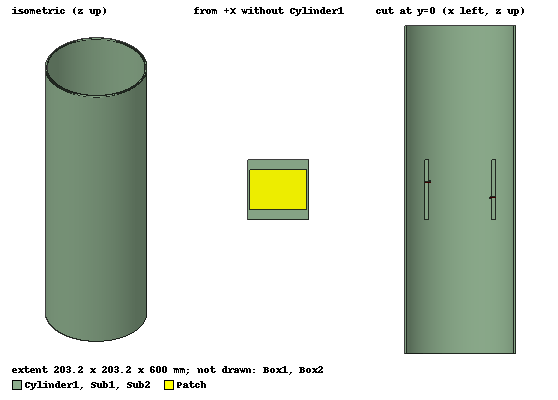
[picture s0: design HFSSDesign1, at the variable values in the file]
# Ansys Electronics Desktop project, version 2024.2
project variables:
  $Antenna_X_Offset = 2.3in
  $Substrate_Width = 0.11246602meter
  $Substrate_Thickness = 0.006meter
  $Substrate_Length = 0.109494912meter
  $X_Offset = 0.022395418meter
  $Patch_Length = 0.07299977meter
  $Patch_Width = 0.10247068meter
  $Tube_Height = 60cm
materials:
  vacuum: permittivity=1
  FR4_epoxy: permittivity=4.4 dielectric_loss_tangent=0.02
  pec: conductivity=1e+30
  Rogers RT/duroid 5880 (tm): permittivity=2.2 dielectric_loss_tangent=0.0009
  Rogers TMM 4 (tm): permittivity=4.5 dielectric_loss_tangent=0.002
  polyethylene: permittivity=2.25 dielectric_loss_tangent=0.001
  air: permittivity=1.0006 permeability=1.0000004
  Rocketry Fiberglass Epoxy: permittivity=3 dielectric_loss_tangent=0.0075

design HFSSDesign1 (HFSS, HFSS Terminal Network, model units mm)
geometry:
  coordinate_system RelativeCS1 = origin=($Antenna_X_Offset, 0mm, 0) x=(0mm, 0mm, -1mm) y=(0mm, 1mm, 0mm)
  Box1 [air] = box(corner=(-25cm, -25cm, 0cm), size=(50cm, 50cm, 50cm)) in RelativeCS1
  Cylinder1 [Rocketry Fiberglass Epoxy] = cylinder(axis=Z, base_centre=(0mm, 0mm, -$Tube_Height/2), radius=4in, height=$Tube_Height)
  Cylinder2 = cylinder(axis=Z, base_centre=(0mm, 0mm, -$Tube_Height/2), radius=(4-0.125) in, height=$Tube_Height)
  Cylinder1.subtract(Cylinder2)
  Cylinder1_1 = Cylinder1.copy()
  Box1.subtract(Cylinder1_1)
  Sub1 [Rogers TMM 4 (tm)] = box(corner=(-($Substrate_Length/2), -($Substrate_Width/2), 0cm), size=($Substrate_Length, $Substrate_Width, $Substrate_Thickness)) in RelativeCS1
  Inf_GND [Rogers RT/duroid 5880 (tm)] = object_from(Sub1.face(at (58.42, 0, 0)))
  Cutout = circle(normal=Z, centre=(-($Patch_Length/2-$X_Offset), 0cm, 0cm), radius=0.16cm) in RelativeCS1
  Inf_GND.subtract(Cutout)
  Patch = rectangle(corner=(-($Patch_Length/2), -($Patch_Width/2), $Substrate_Thickness), x_size=$Patch_Length, y_size=$Patch_Width) in RelativeCS1
  Coax [polyethylene] = cylinder(axis=Z, base_centre=(-($Patch_Length/2-$X_Offset), 0cm, 0cm), radius=0.16cm, height=-0.5cm) in RelativeCS1
  CoaxPin [pec] = cylinder(axis=Z, base_centre=(-($Patch_Length/2-$X_Offset), 0cm, 0cm), radius=0.07cm, height=-0.5cm) in RelativeCS1
  Probe [pec] = cylinder(axis=Z, base_centre=(-($Patch_Length/2-$X_Offset), 0cm, 0cm), radius=0.07cm, height=$Substrate_Thickness) in RelativeCS1
  coordinate_system RelativeCS2 = origin=(-$Antenna_X_Offset, 0, 0) x=(0mm, 0mm, 1mm) y=(0mm, 1mm, 0mm)
  Sub2 [Rogers TMM 4 (tm)] = box(corner=(-($Substrate_Length/2), -($Substrate_Width/2), 0cm), size=($Substrate_Length, $Substrate_Width, $Substrate_Thickness)) in RelativeCS2
  Inf_GND1 [Rogers RT/duroid 5880 (tm)] = object_from(Sub2.face(at (-58.42, 0, 0)))
  Cutout1 = circle(normal=Z, centre=(-($Patch_Length/2-$X_Offset), 0cm, 0cm), radius=0.16cm) in RelativeCS2
  Inf_GND1.subtract(Cutout1)
  Patch1 = rectangle(corner=(-($Patch_Length/2), -($Patch_Width/2), $Substrate_Thickness), x_size=$Patch_Length, y_size=$Patch_Width) in RelativeCS2
  Coax1 [polyethylene] = cylinder(axis=Z, base_centre=(-($Patch_Length/2-$X_Offset), 0cm, 0cm), radius=0.16cm, height=-0.5cm) in RelativeCS2
  CoaxPin1 [pec] = cylinder(axis=Z, base_centre=(-($Patch_Length/2-$X_Offset), 0cm, 0cm), radius=0.07cm, height=-0.5cm) in RelativeCS2
  Probe1 [pec] = cylinder(axis=Z, base_centre=(-($Patch_Length/2-$X_Offset), 0cm, 0cm), radius=0.07cm, height=$Substrate_Thickness) in RelativeCS2
  Box2 [air] = box(corner=(-25cm, -25cm, 0cm), size=(50cm, 50cm, 50cm)) in RelativeCS2
  Cylinder3 = cylinder(axis=Z, base_centre=(0, 0mm, -$Tube_Height/2), radius=4in, height=$Tube_Height)
  Cylinder4 = cylinder(axis=Z, base_centre=(0, 0mm, -$Tube_Height/2), radius=(4-0.125) in, height=$Tube_Height)
  Cylinder3.subtract(Cylinder4)
  Cylinder1_2 = Cylinder3.copy()
  Cylinder3.delete()
  Box2.subtract(Cylinder1_2)
  Cylinder5 [FR4_epoxy] = cylinder(axis=Z, base_centre=(0mm, 0mm, 4in), radius=4in-0.125in, height=0.0625in)
  Cylinder5_1 = Cylinder5.copy()
  Box1.subtract(Cylinder5_1)
  Cylinder5_2 = Cylinder5.copy()
  Box2.subtract(Cylinder5_2)
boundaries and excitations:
  Rad1: Radiation Faces=Box1.face(at (558.42, 0, 0), at (308.42, -250, 0), at (308.42, 250, 0))
  PerfE_Patch: Perfect E Objects=Patch
  PerfE1: Perfect E Objects=Inf_GND
  PerfE_Patch1: Perfect E Objects=Patch1
  PerfE2: Perfect E Objects=Inf_GND1
  Rad2: Radiation Faces=Box2.face(at (-558.42, 0, 0), at (-308.42, -250, 0), at (-308.42, 250, 0))
  CoaxPin_T1: Terminal port=P1 Faces=CoaxPin.face(at (53.42, 0, 14.1045)) TerminalResistance=50ohm
  CoaxPin_T2: Terminal port=P2 Faces=CoaxPin1.face(at (-53.42, 0, -14.1045)) TerminalResistance=50ohm
  P1: Wave Port Faces=Coax.face(at (53.42, 0, 14.1045)) WavePortType=Terminal NumModes=1
  P2: Wave Port Faces=Coax1.face(at (-53.42, 0, -14.1045)) WavePortType=Terminal NumModes=1
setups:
  Setup1: HfssDriven Frequency=0.915GHz MaxDeltaS=0.02 MaximumPasses=20 MinimumPasses=1 MinimumConvergedPasses=1 PercentRefinement=30 BasisOrder=1 PortAccuracy=2 DrivenSolverType="Direct Solver"
    sweep Sweep: 0.4575GHz to 1.3725GHz, 401 points; Type=Interpolating InterpTolerance=0.5 InterpMaxSolns=250 PassivityErrorTolerance=0.0001
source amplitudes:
  P1:1, P2:1: 1 0deg
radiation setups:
  Infinite Sphere1: Infinite Sphere Theta=0deg..180deg step 2deg Phi=-180deg..180deg step 2deg
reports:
  Terminal S Parameter Plot 1: dB(St(CoaxPin_T1,CoaxPin_T1)) vs Freq on Setup1 : Sweep; markers m1 at 0.9081375GHz, MX1 at x=9.15e+08
  Gain Plot 1: dB(GainTotal) vs Phi, Theta on Setup1 : LastAdaptive, Infinite Sphere1 [Freq=0.915GHz]
  Realized Gain Plot 1: dB(RealizedGainTotal) vs Phi, Theta on Setup1 : LastAdaptive, Infinite Sphere1 [Freq=0.915GHz]
